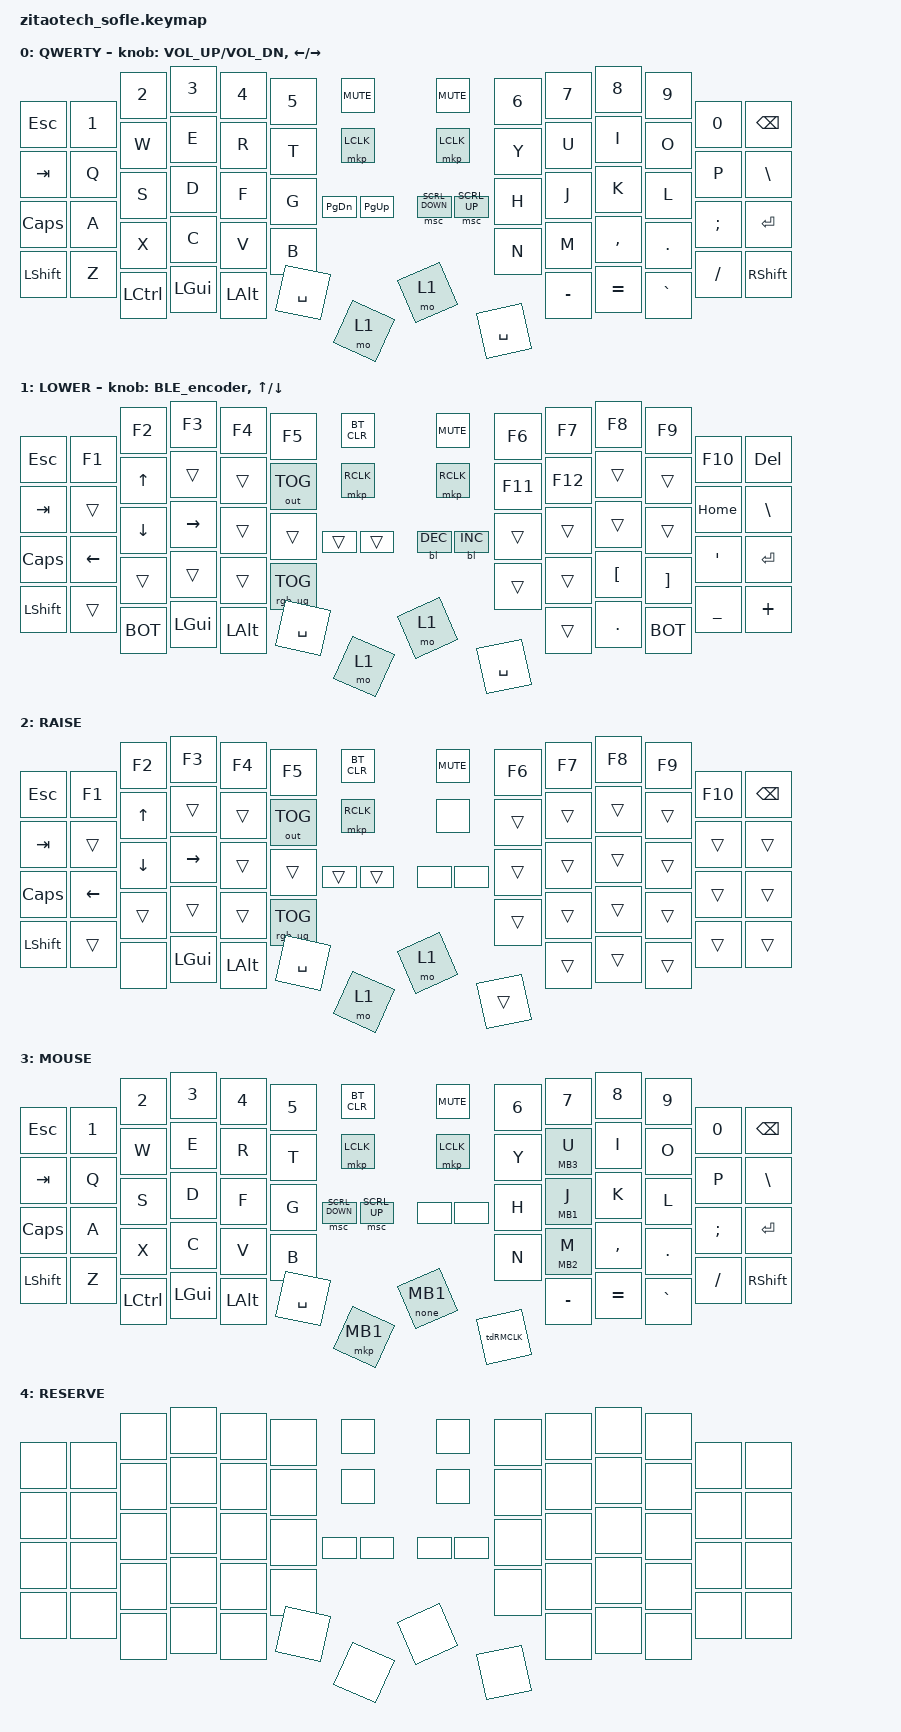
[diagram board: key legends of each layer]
/*
 * Copyright (c) 2025 ZitaoTech
 *
 * SPDX-License-Identifier: MIT
 */

#include <behaviors.dtsi>
#include <dt-bindings/zmk/keys.h>
#include <dt-bindings/zmk/bt.h>
#include <dt-bindings/zmk/outputs.h>
#include <dt-bindings/zmk/mouse.h>
#include <dt-bindings/zmk/backlight.h>
#include <dt-bindings/zmk/ext_power.h>
#include <dt-bindings/zmk/rgb.h>

#include <behaviors/runtime_macro.dtsi>
#define FUNC 1
#define RES 2
#define BOT bootloader

/ {
    combos {
        compatible = "zmk,combos";

        combo_df {
            timeout-ms = <40>;
            key-positions = <29 30>;
            layers = <0>;
            bindings = <&rmacro 4>;
        };

        combo_jk {
            timeout-ms = <40>;
            key-positions = <35 36>;
            layers = <0>;
            bindings = <&rmacro 5>;
        };

        combo_sd {
            timeout-ms = <40>;
            key-positions = <28 29>;
            layers = <0>;
            bindings = <&rmacro 6>;
        };

        combo_kl {
            timeout-ms = <40>;
            key-positions = <36 37>;
            layers = <0>;
            bindings = <&rmacro 7>;
        };
    };
};

/ {
    input_processors {

        zip_temp_layer: zip_temp_layer {
            compatible = "zmk,input-processor-temp-layer";
            #input-processor-cells = <2>;
        };

        ip_behaviors0: ip_behaviors0 {
            compatible = "zmk,input-processor-behaviors";
            #input-processor-cells = <0>;
            type = <INPUT_EV_KEY>;
            codes = <INPUT_BTN_0>;
            bindings = <&kp RIGHT>;
        };
        ip_behaviors1: ip_behaviors1 {
            compatible = "zmk,input-processor-behaviors";
            #input-processor-cells = <0>;
            type = <INPUT_EV_KEY>;
            codes = <INPUT_BTN_1>;
            bindings = <&kp LEFT>;
        };
        ip_behaviors2: ip_behaviors2 {
            compatible = "zmk,input-processor-behaviors";
            #input-processor-cells = <0>;
            type = <INPUT_EV_KEY>;
            codes = <INPUT_BTN_2>;
            bindings = <&kp DOWN>;
        };
        ip_behaviors3: ip_behaviors3 {
            compatible = "zmk,input-processor-behaviors";
            #input-processor-cells = <0>;
            type = <INPUT_EV_KEY>;
            codes = <INPUT_BTN_3>;
            bindings = <&kp UP>;
        };
    };
};

/ {
    behaviors {
        td0: tap_dance_0 {
            compatible = "zmk,behavior-tap-dance";
            #binding-cells = <0>;
            tapping-term-ms = <400>;
            bindings = <&mkp LCLK>, <&bt BT_CLR>;
        };
    };

        behaviors {
        tdRMCLK: tap_dance_R_LMouse {
            compatible = "zmk,behavior-tap-dance";
            #binding-cells = <0>;
            tapping-term-ms = <400>;
            bindings = <&mkp RCLK>, <&mkp MCLK>;
        };
    };

    behaviors {
        hm: homerow_mods {
            compatible = "zmk,behavior-hold-tap";
            #binding-cells = <2>;
            tapping-term-ms = <500>;
            bindings = <&kp &kp>;
        };
    };

    behaviors {
         sp_sc: behavior_spacescroll {
           compatible = "zmk,behavior-hold-tap";
           #binding-cells = <2>;
           flavor = "tap-preferred";     /* 单击优先 */
           tapping-term-ms = <200>;       /* 长按阈值 */
           bindings = <&none &kp>;        /* hold=none, tap=space */
        };
    };

    behaviors {
         LMouse_sc: behavior_LMouse_Scroll {
           compatible = "zmk,behavior-hold-tap";
           #binding-cells = <2>;
           flavor = "tap-preferred";     /* 单击优先 */
           tapping-term-ms = <200>;       /* 长按阈值 */
           bindings = <&none &mkp>;        /* hold=none, tap=Lmouse */
        };
    };

    behaviors {
         M_kp: behavior_mouse_keypress {
           compatible = "zmk,behavior-hold-tap";
           #binding-cells = <2>;
           flavor = "tap-preferred";     /* 单击优先 */
           tapping-term-ms = <200>;       /* 长按阈值 */
           bindings = <&mkp &kp>;        /* hold=mou key press, tap=key*/
        };
    };

    behaviors {
        BLE_encoder: BLE_encoder {
            compatible = "zmk,behavior-sensor-rotate";
            #sensor-binding-cells = <0>;
            bindings = <&bt BT_NXT>, <&bt BT_PRV>;
        };
    };

    keymap {
        compatible = "zmk,keymap";

         default_layer {
            display-name = "QWERTY";
           bindings = <
&kp ESC   &kp N1   &kp N2     &kp N3   &kp N4    &kp N5    &kp C_MUTE                   &kp C_MUTE                     &kp N6      &kp N7      &kp N8    &kp N9    &kp N0   &kp BSPC            
&kp TAB   &kp Q    &kp W      &kp E    &kp R     &kp T                                                                 &kp Y       &kp U       &kp I     &kp O     &kp P    &kp BSLH
&kp CAPS  &kp A    &kp S      &kp D    &kp F     &kp G     &mkp LCLK                    &mkp LCLK                      &kp H       &kp J       &kp K     &kp L     &kp SEMI &kp ENTER
&kp LSHFT &kp Z    &kp X      &kp C    &kp V     &kp B     &kp PG_DN  &kp PG_UP         &msc SCRL_DOWN  &msc SCRL_UP   &kp N       &kp M       &kp COMMA &kp DOT   &kp FSLH &kp RSHIFT
                   &kp LCTRL  &kp LGUI &kp LALT  &kp SPACE &mo 1                                        &mo 1          &kp SPACE   &kp MINUS   &kp EQUAL    &kp GRAVE
           >;
           sensor-bindings = <&inc_dec_kp C_VOL_UP C_VOL_DN &inc_dec_kp LEFT RIGHT>;
        };


        lower_layer {
            display-name = "LOWER";
            bindings = <
&kp ESC     &kp F1    &kp F2     &kp F3    &kp F4    &kp F5           &bt BT_CLR                   &kp C_MUTE             &kp F6    &kp F7   &kp F8     &kp F9    &kp F10    &kp DEL         
&kp TAB     &trans    &kp UP     &trans    &trans    &out OUT_TOG                                                         &kp F11   &kp F12  &trans     &trans    &kp HOME   &kp BSLH
&kp CAPS    &kp LEFT  &kp DOWN   &kp RIGHT &trans    &trans           &mkp RCLK                    &mkp RCLK              &trans    &trans   &trans     &trans    &kp SQT    &kp ENTER
&kp LSHFT   &trans    &trans     &trans    &trans    &rgb_ug RGB_TOG  &trans     &trans            &bl BL_DEC  &bl BL_INC &trans    &trans   &kp LBKT   &kp RBKT  &kp UNDER  &kp PLUS
                      &BOT       &kp LGUI  &kp LALT  &kp SPACE        &mo 1                                     &mo 1     &kp SPACE &trans   &kp DOT    &BOT 
            >;
            sensor-bindings = <&BLE_encoder &inc_dec_kp UP DOWN>;
        };
        raise_layer {
            display-name = "RAISE";
            bindings = <
&kp ESC     &kp F1    &kp F2     &kp F3    &kp F4    &kp F5           &bt BT_CLR                      &kp C_MUTE       &kp F6     &kp F7    &kp F8    &kp F9    &kp F10    &kp BSPC            
&kp TAB     &trans    &kp UP     &trans    &trans    &out OUT_TOG                                                      &trans     &trans    &trans    &trans    &trans     &trans
&kp CAPS    &kp LEFT  &kp DOWN   &kp RIGHT &trans    &trans           &mkp RCLK                       &none            &trans     &trans    &trans    &trans    &trans     &trans
&kp LSHFT   &trans    &trans     &trans    &trans    &rgb_ug RGB_TOG  &trans     &trans               &none  &none     &trans     &trans    &trans    &trans    &trans     &trans
                      &none      &kp LGUI  &kp LALT  &kp SPACE        &mo 1                                  &mo 1     &trans     &trans     &trans     &trans
            >;
        }; 
        MOUSE_layer {
            display-name = "MOUSE";
            bindings = <
&kp ESC   &kp N1    &kp N2     &kp N3   &kp N4   &kp N5     &bt BT_CLR                       &kp C_MUTE       &kp N6     &kp N7         &kp N8    &kp N9    &kp N0   &kp BSPC              
&kp TAB   &kp Q     &kp W      &kp E    &kp R    &kp T                                                        &kp Y      &M_kp MB3 U    &kp I     &kp O     &kp P    &kp BSLH
&kp CAPS  &kp A     &kp S      &kp D    &kp F    &kp G      &mkp LCLK                        &mkp LCLK        &kp H      &M_kp MB1 J    &kp K     &kp L     &kp SEMI &kp ENTER
&kp LSHFT &kp Z     &kp X      &kp C    &kp V    &kp B      &msc SCRL_DOWN   &msc SCRL_UP    &none  &none     &kp N      &M_kp MB2 M    &kp COMMA &kp DOT   &kp FSLH &kp RSHIFT
                    &kp LCTRL  &kp LGUI &kp LALT &kp SPACE  &mkp MB1                         &LMouse_sc 0 MB1 &tdRMCLK   &kp MINUS      &kp EQUAL    &kp GRAVE
           >;
        };
        RES_layer { 
            display-name = "RESERVE";
            bindings = <
&none     &none     &none      &none    &none    &none   &none                        &none            &none   &none  &none   &none  &none  &none            
&none     &none     &none      &none    &none    &none                                                 &none   &none  &none   &none  &none  &none
&none     &none     &none      &none    &none    &none   &none                        &none            &none   &none  &none   &none  &none  &none
&none     &none     &none      &none    &none    &none   &none   &none                &none  &none     &none   &none  &none   &none  &none  &none
                    &none      &none    &none    &none   &none                                         &none   &none  &none   &none  &none
            >;
        };
    };
};

/ {
    behaviors {
        lt_studio: studio_layer_tap {
            compatible = "zmk,behavior-hold-tap";
            #binding-cells = <2>;

            flavor = "tap-preferred";
            tapping-term-ms = <200>;

            bindings = <&mo &kp>;
            display-name = "Layer-Tap";
        };

        ltm_studio: studio_layer_tap_mouse {
            compatible = "zmk,behavior-hold-tap";
            #binding-cells = <2>;

            flavor = "tap-preferred";
            tapping-term-ms = <200>;

            bindings = <&mo &mkp>;
            display-name = "Layer-Tap Mouse";
        };
    };
};
